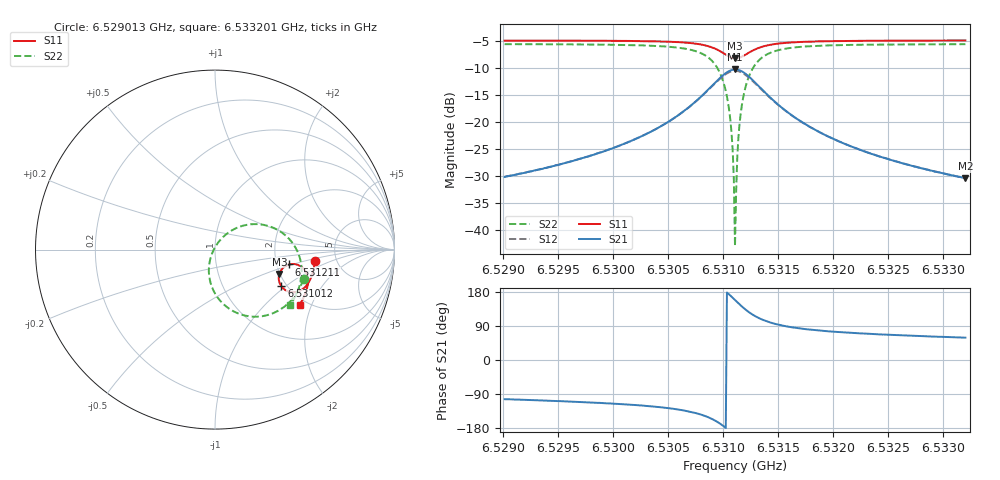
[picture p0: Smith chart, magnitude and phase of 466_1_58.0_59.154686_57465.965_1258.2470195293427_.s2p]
#  HZ  S  RI  R  50.00
! Rohde & Schwarz Vector Network Analyzer
! Rohde-Schwarz,ZNB20-2Port,1311601062101988,3.16
! Created: UTC 3/21/2024, 1:11:09 AM
! freq[Hz]  re:S11  im:S11  re:S21  im:S21  re:S12  im:S12  re:S22  im:S22
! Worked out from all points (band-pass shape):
!   401 points, 6.529013 GHz to 6.533201 GHz, reference 50 ohm
!   highest |S21| = -10.36 dB at 6.531107 GHz (marker M1); lowest = -30.5 dB at 6.533201 GHz (marker M2)
!   |S21| within 3 dB of the highest: 6.530899 GHz to 6.531318 GHz (418.9 kHz wide, 0.00641 % of centre)
!   lowest |S11| = -8.3 dB at 6.531107 GHz (marker M3), VSWR 2.24, Z = 99.2 - j31.6 ohm
!   |S11| at or under -10 dB: nowhere
!   |S22| runs from -43.1 to -5.7 dB; largest |S21 - S12| = 0.012
!   S11 on the Smith chart (normalised r, x): 6.529013 GHz: 3.44, -0.61; 6.531012 GHz: 1.87, -0.93; 6.531211 GHz: 2.34, -0.47; 6.533201 GHz: 1.82, -1.64
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6.5290128e9  0.5577 -0.0611  -0.00714 -0.0299  -0.00769 -0.0298  0.4935 -0.1645
6.5297143e9  0.5472 -0.119  -0.0164 -0.0426  -0.0173 -0.0424  0.4632 -0.2294
6.5304157e9  0.5187 -0.1881  -0.0498 -0.073  -0.0517 -0.0718  0.3827 -0.3209
6.5308345e9  0.4485 -0.2368  -0.1563 -0.0985  -0.1585 -0.0923  0.1782 -0.3698
6.5309392e9  0.4044 -0.2315  -0.2247 -0.0726  -0.224 -0.0633  0.0611 -0.316
6.5310125e9  0.3702 -0.2045  -0.2754 -0.0149  -0.27 -0.00538  -0.0161 -0.2109
6.5310439e9  0.3597 -0.1848  -0.2889 0.0231  -0.281 0.0315  -0.0325 -0.1453
6.5310648e9  0.3559 -0.1691  -0.2923 0.0519  -0.2831 0.059  -0.0336 -0.0971
6.5310753e9  0.3551 -0.161  -0.2919 0.0668  -0.2822 0.0733  -0.0306 -0.0723
6.5310858e9  0.3554 -0.1526  -0.2902 0.082  -0.28 0.0873  -0.025 -0.0477
6.5310962e9  0.3566 -0.1442  -0.2868 0.097  -0.2763 0.1015  -0.0171 -0.0235
6.5311067e9  0.3585 -0.1359  -0.2819 0.1117  -0.2713 0.1152  -0.00702 -0.000166
6.5311172e9  0.3614 -0.1281  -0.2757 0.1259  -0.2651 0.1283  0.00546 0.0221
6.5311277e9  0.3651 -0.1205  -0.268 0.1393  -0.2576 0.1408  0.0203 0.0429
6.5311381e9  0.3695 -0.1133  -0.2592 0.1516  -0.249 0.1525  0.0367 0.062
6.5311591e9  0.3804 -0.1011  -0.2385 0.1735  -0.229 0.1725  0.0739 0.0943
6.5312114e9  0.4132 -0.083  -0.1788 0.2053  -0.1722 0.2023  0.1779 0.138
6.5312847e9  0.4556 -0.0832  -0.1041 0.2076  -0.1007 0.2047  0.304 0.1295
6.5313894e9  0.4925 -0.1058  -0.0396 0.1771  -0.0382 0.1753  0.4093 0.0633
6.5318082e9  0.5177 -0.1855  0.0156 0.0853  0.0166 0.0852  0.4829 -0.1279
6.5325096e9  0.4981 -0.2568  0.0178 0.0408  0.0184 0.0406  0.455 -0.2449
6.5332006e9  0.471 -0.308  0.0154 0.0256  0.016 0.0254  0.4203 -0.3062
